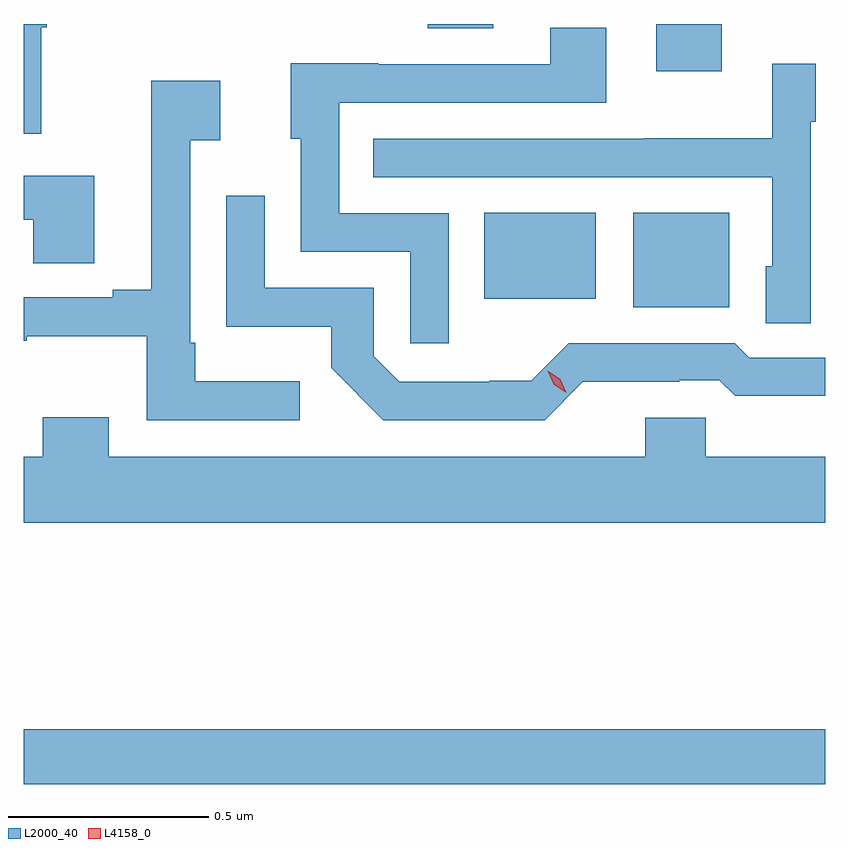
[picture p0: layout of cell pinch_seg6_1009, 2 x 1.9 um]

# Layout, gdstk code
import gdstk
lib = gdstk.Library(unit=1e-6, precision=1e-09)
def R(c, l, rs):  # rectangles x0, y0, x1, y1
    for r in rs: c.add(gdstk.rectangle(r[:2], r[2:], *l))
def P(c, l, *ps):  # polygons
    for p in ps: c.add(gdstk.Polygon(p, *l))
L2000_40 = (2000, 40)
L4158_0 = (4158, 0)

pinch_seg6_1009 = lib.new_cell('pinch_seg6_1009')
R(pinch_seg6_1009, L2000_40, [(257.009,929.368,259.009,929.504), (258.53,930.557,258.769,930.793), (258.158,930.578,258.436,930.793), (258.587,931.146,258.751,931.264), (258.017,931.253,258.181,931.264)])
P(pinch_seg6_1009, L2000_40, [(257.053,931.256),(257.066,931.256),(257.066,931.264),(257.009,931.264),(257.009,930.99),(257.053,930.99)],
  [(258.069,930.792),(257.796,930.792),(257.796,931.068),(258.463,931.068),(258.463,931.255),(258.323,931.255),(258.323,931.164),(257.893,931.164),(257.893,931.166),(257.675,931.166),(257.675,930.978),(257.7,930.978),(257.7,930.696),(257.973,930.696),(257.973,930.468),(258.069,930.468)],
  [(258.972,931.02),(258.985,931.02),(258.985,931.165),(258.876,931.165),(258.876,930.979),(258.559,930.979),(258.559,930.978),(257.881,930.978),(257.881,930.882),(258.876,930.882),(258.876,930.66),(258.86,930.66),(258.86,930.517),(258.972,930.517)],
  [(257.698,930.373),(257.437,930.373),(257.437,930.469),(257.424,930.469),(257.424,930.974),(257.5,930.974),(257.5,931.123),(257.327,931.123),(257.327,930.601),(257.231,930.601),(257.231,930.582),(257.009,930.582),(257.009,930.474),(257.017,930.474),(257.017,930.485),(257.316,930.485),(257.316,930.276),(257.698,930.276)],
  [(257.185,930.886),(257.009,930.886),(257.009,930.776),(257.033,930.776),(257.033,930.667),(257.185,930.667)],
  [(258.404,930.371),(258.644,930.371),(258.644,930.375),(258.744,930.375),(258.784,930.336),(259.009,930.336),(259.009,930.432),(258.819,930.432),(258.783,930.468),(258.369,930.468),(258.275,930.374),(258.17,930.374),(258.17,930.372),(257.946,930.372),(257.883,930.435),(257.883,930.606),(257.61,930.606),(257.61,930.835),(257.514,930.835),(257.514,930.509),(257.776,930.509),(257.776,930.407),(257.906,930.276),(258.309,930.276)],
  [(259.009,930.184),(258.711,930.184),(258.711,930.282),(258.56,930.282),(258.56,930.184),(257.221,930.184),(257.221,930.283),(257.057,930.283),(257.057,930.184),(257.009,930.184),(257.009,930.02),(259.009,930.02)])
P(pinch_seg6_1009, L4158_0, [(258.363,930.344),(258.332,930.365),(258.317,930.399),(258.317,930.399),(258.317,930.399),(258.348,930.378),(258.363,930.344),(258.363,930.344)])

lib.write_gds('pinch_seg6_1009.gds')
